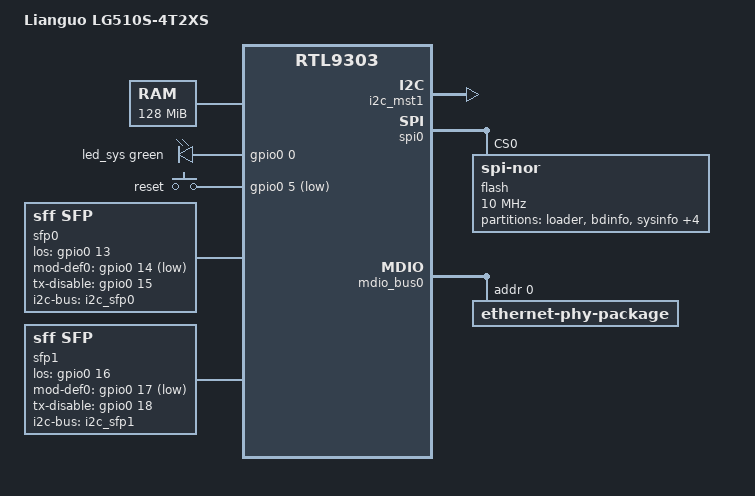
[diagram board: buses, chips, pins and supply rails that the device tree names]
// SPDX-License-Identifier: GPL-2.0-or-later
/dts-v1/;

#include "rtl930x.dtsi"

#include <dt-bindings/input/input.h>
#include <dt-bindings/gpio/gpio.h>
#include <dt-bindings/leds/common.h>

/ {
	compatible = "lianguo,lg510s-4t2xs", "realtek,rtl9303-soc";
	model = "Lianguo LG510S-4T2XS";

	memory@0 {
		device_type = "memory";
		reg = <0x0 0x8000000>;
	};

	chosen {
		stdout-path = "serial0:115200n8";
	};

	aliases {
		label-mac-device = &ethernet0;
		led-boot = &led_sys;
		led-failsafe = &led_sys;
		led-running = &led_sys;
		led-upgrade = &led_sys;
	};

	leds {
		compatible = "gpio-leds";
		pinctrl-names = "default";
		pinctrl-0 = <&pinmux_disable_sys_led>;

		led_sys: led-0 {
			gpios = <&gpio0 0 GPIO_ACTIVE_HIGH>;
			color = <LED_COLOR_ID_GREEN>;
			function = LED_FUNCTION_STATUS;
		};
	};

	keys {
		compatible = "gpio-keys";

		button-reset {
			label = "reset";
			gpios = <&gpio0 5 GPIO_ACTIVE_LOW>;
			linux,code = <KEY_RESTART>;
		};
	};

	/*
	 * Serial LED chain with three LEDs per port; the first is unused.
	 * The second lights at 10G, the third at lower speeds.
	 */
	led_set {
		compatible = "realtek,rtl9300-leds";
		active-low;
		realtek,led-mode = <RTL93XX_LED_MODE_SERIAL>;

		/* RJ45 ports */
		led_set0 = <
			(RTL93XX_LED_SET_NONE)
			(RTL93XX_LED_SET_10G | RTL93XX_LED_SET_LINK | RTL93XX_LED_SET_ACT)
			(RTL93XX_LED_SET_5G | RTL93XX_LED_SET_2P5G | RTL93XX_LED_SET_1G |
			 RTL93XX_LED_SET_100M | RTL93XX_LED_SET_LINK | RTL93XX_LED_SET_ACT)
		>;

		/* SFP+ ports */
		led_set1 = <
			(RTL93XX_LED_SET_NONE)
			(RTL93XX_LED_SET_10G | RTL93XX_LED_SET_LINK | RTL93XX_LED_SET_ACT)
			(RTL93XX_LED_SET_2P5G | RTL93XX_LED_SET_1G | RTL93XX_LED_SET_100M |
			 RTL93XX_LED_SET_LINK | RTL93XX_LED_SET_ACT)
		>;

		/* The unpopulated port 24 is part of the serial LED chain */
		realtek,led-set0-force-port-mask = <0x01000000>;
	};

	sfp0: sfp-p5 {
		compatible = "sff,sfp";
		i2c-bus = <&i2c_sfp0>;
		los-gpios = <&gpio0 13 GPIO_ACTIVE_HIGH>;
		mod-def0-gpios = <&gpio0 14 GPIO_ACTIVE_LOW>;
		tx-disable-gpios = <&gpio0 15 GPIO_ACTIVE_HIGH>;
		maximum-power-milliwatt = <2000>;
	};

	sfp1: sfp-p6 {
		compatible = "sff,sfp";
		/* GPIO 18 shares its pin with the USB LED */
		pinctrl-names = "default";
		pinctrl-0 = <&pinmux_disable_usb_led>;
		i2c-bus = <&i2c_sfp1>;
		los-gpios = <&gpio0 16 GPIO_ACTIVE_HIGH>;
		mod-def0-gpios = <&gpio0 17 GPIO_ACTIVE_LOW>;
		tx-disable-gpios = <&gpio0 18 GPIO_ACTIVE_HIGH>;
		maximum-power-milliwatt = <2000>;
	};
};

/* SCL on GPIO 8, SDA on GPIO 9 and 10 */
&i2c_mst1 {
	status = "okay";

	i2c_sfp0: i2c@0 {
		reg = <0>;
	};

	i2c_sfp1: i2c@1 {
		reg = <1>;
	};
};

&spi0 {
	status = "okay";

	flash@0 {
		compatible = "jedec,spi-nor";
		reg = <0>;
		spi-max-frequency = <10000000>;

		partitions {
			compatible = "fixed-partitions";
			#address-cells = <1>;
			#size-cells = <1>;

			partition@0 {
				label = "loader";
				reg = <0x0 0xe0000>;
				read-only;
			};

			partition@e0000 {
				label = "bdinfo";
				reg = <0xe0000 0x10000>;
				read-only;

				nvmem-layout {
					compatible = "u-boot,env";

					macaddr_ubootenv_ethaddr: ethaddr {
						#nvmem-cell-cells = <1>;
					};
				};
			};

			partition@f0000 {
				label = "sysinfo";
				reg = <0xf0000 0x10000>;
				read-only;
			};

			partition@100000 {
				label = "jffs2-cfg";
				reg = <0x100000 0x100000>;
				read-only;
			};

			partition@200000 {
				label = "jffs2-log";
				reg = <0x200000 0x100000>;
				read-only;
			};

			/* "runtime" in the stock layout */
			partition@300000 {
				label = "firmware";
				reg = <0x300000 0xc00000>;
				compatible = "openwrt,uimage", "denx,uimage";
				openwrt,ih-magic = <0x83800000>;
			};

			partition@f00000 {
				label = "oeminfo";
				reg = <0xf00000 0x100000>;
				read-only;
			};
		};
	};
};

&ethernet0 {
	nvmem-cells = <&macaddr_ubootenv_ethaddr 0>;
	nvmem-cell-names = "mac-address";
};

&mdio_bus0 {
	/* RTL8264B */
	ethernet-phy-package@0 {
		#address-cells = <1>;
		#size-cells = <0>;
		reg = <0>;

		PHY_C45(0, 0)
		PHY_C45(8, 1)
		PHY_C45(16, 2)
		PHY_C45(20, 3)
	};
};

&switch0 {
	ethernet-ports {
		#address-cells = <1>;
		#size-cells = <0>;

		SWITCH_PORT_LED(0, 1, 2, 0, 0, usxgmii)
		SWITCH_PORT_LED(8, 2, 3, 0, 0, usxgmii)
		SWITCH_PORT_LED(16, 3, 4, 0, 0, usxgmii)
		SWITCH_PORT_LED(20, 4, 5, 0, 0, usxgmii)

		SWITCH_PORT_SFP(25, 5, 7, 1, 0)
		SWITCH_PORT_SFP(26, 6, 8, 1, 1)

		/* CPU port */
		port@28 {
			ethernet = <&ethernet0>;
			reg = <28>;
			phy-mode = "internal";

			fixed-link {
				speed = <1000>;
				full-duplex;
			};
		};
	};
};
